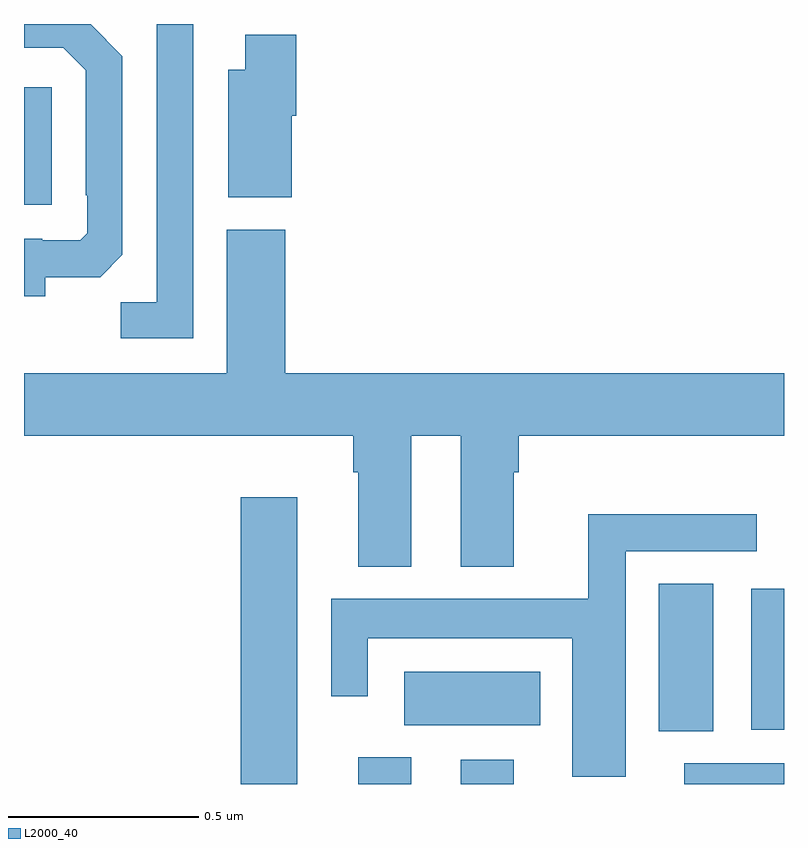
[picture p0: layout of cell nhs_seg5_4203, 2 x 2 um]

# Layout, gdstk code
import gdstk
lib = gdstk.Library(unit=1e-6, precision=1e-09)
def R(c, l, rs):  # rectangles x0, y0, x1, y1
    for r in rs: c.add(gdstk.rectangle(r[:2], r[2:], *l))
def P(c, l, *ps):  # polygons
    for p in ps: c.add(gdstk.Polygon(p, *l))
L2000_40 = (2000, 40)

nhs_seg5_4203 = lib.new_cell('nhs_seg5_4203')
R(nhs_seg5_4203, L2000_40, [(167.57,899.799,167.719,900.553), (167.879,899.799,168.019,899.869), (168.149,899.799,168.289,899.863), (168.737,899.799,169,899.853), (168.671,899.938,168.814,900.326), (168.914,899.942,169,900.313), (168,899.954,168.358,900.094), (167,901.323,167.073,901.633)])
P(nhs_seg5_4203, L2000_40, [(167.445,901.799),(167.349,901.799),(167.349,901.067),(167.254,901.067),(167.254,900.972),(167.445,900.972)],
  [(167.056,901.133),(167.2,901.133),(167.259,901.192),(167.259,901.714),(167.175,901.799),(167,901.799),(167,901.737),(167.103,901.737),(167.163,901.677),(167.163,901.348),(167.166,901.348),(167.166,901.248),(167.148,901.23),(167.048,901.23),(167.048,901.234),(167,901.234),(167,901.082),(167.056,901.082)],
  [(167.704,901.557),(167.717,901.557),(167.717,901.771),(167.582,901.771),(167.582,901.678),(167.537,901.678),(167.537,901.343),(167.704,901.343)],
  [(168.019,900.716),(168.149,900.716),(168.149,900.371),(168.289,900.371),(168.289,900.62),(168.302,900.62),(168.302,900.716),(169,900.716),(169,900.88),(167.687,900.88),(167.687,901.258),(167.534,901.258),(167.534,900.88),(167,900.88),(167,900.716),(167.867,900.716),(167.867,900.62),(167.879,900.62),(167.879,900.371),(168.019,900.371)],
  [(168.583,900.411),(168.928,900.411),(168.928,900.509),(168.485,900.509),(168.485,900.286),(167.808,900.286),(167.808,900.03),(167.904,900.03),(167.904,900.182),(168.443,900.182),(168.443,899.818),(168.583,899.818)])

lib.write_gds('nhs_seg5_4203.gds')
